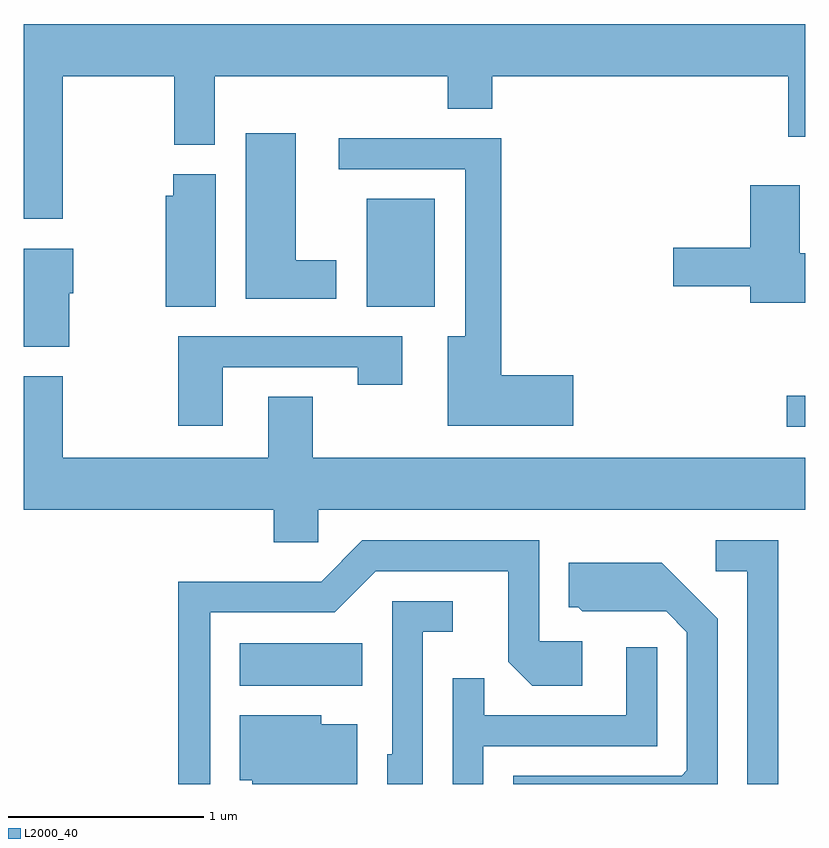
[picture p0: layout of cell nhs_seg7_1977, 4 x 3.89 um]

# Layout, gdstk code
import gdstk
lib = gdstk.Library(unit=1e-6, precision=1e-09)
def R(c, l, rs):  # rectangles x0, y0, x1, y1
    for r in rs: c.add(gdstk.rectangle(r[:2], r[2:], *l))
def P(c, l, *ps):  # polygons
    for p in ps: c.add(gdstk.Polygon(p, *l))
L2000_40 = (2000, 40)

nhs_seg7_1977 = lib.new_cell('nhs_seg7_1977')
R(nhs_seg7_1977, L2000_40, [(246.716,1706.756,247.344,1706.974), (249.518,1708.081,249.611,1708.239), (247.366,1708.696,247.714,1709.249)])
P(nhs_seg7_1977, L2000_40, [(245.809,1709.876),(246.381,1709.876),(246.381,1709.526),(246.589,1709.526),(246.589,1709.876),(247.781,1709.876),(247.781,1709.711),(248.009,1709.711),(248.009,1709.876),(249.526,1709.876),(249.526,1709.566),(249.611,1709.566),(249.611,1710.144),(245.611,1710.144),(245.611,1709.146),(245.809,1709.146)],
  [(247.209,1708.934),(247.004,1708.934),(247.004,1709.584),(246.746,1709.584),(246.746,1708.736),(247.209,1708.736)],
  [(248.424,1708.344),(248.054,1708.344),(248.054,1709.559),(247.223,1709.559),(247.223,1709.401),(247.871,1709.401),(247.871,1708.544),(247.781,1708.544),(247.781,1708.086),(248.424,1708.086)],
  [(246.594,1709.374),(246.376,1709.374),(246.376,1709.264),(246.336,1709.264),(246.336,1708.696),(246.594,1708.696)],
  [(249.611,1708.969),(249.584,1708.969),(249.584,1709.319),(249.331,1709.319),(249.331,1708.999),(248.936,1708.999),(248.936,1708.801),(249.331,1708.801),(249.331,1708.716),(249.611,1708.716)],
  [(245.844,1708.766),(245.864,1708.766),(245.864,1708.994),(245.611,1708.994),(245.611,1708.491),(245.844,1708.491)],
  [(246.629,1708.386),(247.321,1708.386),(247.321,1708.296),(247.549,1708.296),(247.549,1708.544),(246.401,1708.544),(246.401,1708.086),(246.629,1708.086)],
  [(245.611,1708.339),(245.611,1707.656),(246.891,1707.656),(246.891,1707.491),(247.119,1707.491),(247.119,1707.656),(249.611,1707.656),(249.611,1707.924),(247.089,1707.924),(247.089,1708.234),(246.861,1708.234),(246.861,1707.924),(245.809,1707.924),(245.809,1708.339)],
  [(249.474,1707.499),(249.153,1707.499),(249.153,1707.341),(249.316,1707.341),(249.316,1706.252),(249.474,1706.252)],
  [(246.564,1707.131),(247.202,1707.131),(247.412,1707.341),(248.091,1707.341),(248.091,1706.879),(248.214,1706.756),(248.469,1706.756),(248.469,1706.984),(248.249,1706.984),(248.249,1707.499),(247.344,1707.499),(247.134,1707.289),(246.401,1707.289),(246.401,1706.252),(246.564,1706.252)],
  [(249.164,1707.097),(248.877,1707.384),(248.401,1707.384),(248.401,1707.156),(248.449,1707.156),(248.469,1707.136),(248.899,1707.136),(249.006,1707.029),(249.006,1706.322),(248.979,1706.294),(248.116,1706.294),(248.116,1706.252),(249.164,1706.252)],
  [(247.654,1707.031),(247.808,1707.031),(247.808,1707.189),(247.496,1707.189),(247.496,1706.404),(247.471,1706.404),(247.471,1706.252),(247.654,1706.252)],
  [(247.964,1706.446),(248.854,1706.446),(248.854,1706.953),(248.696,1706.953),(248.696,1706.604),(247.969,1706.604),(247.969,1706.793),(247.806,1706.793),(247.806,1706.252),(247.964,1706.252)],
  [(247.319,1706.559),(247.134,1706.559),(247.134,1706.604),(246.716,1706.604),(246.716,1706.271),(246.781,1706.271),(246.781,1706.252),(247.319,1706.252)])

lib.write_gds('nhs_seg7_1977.gds')
